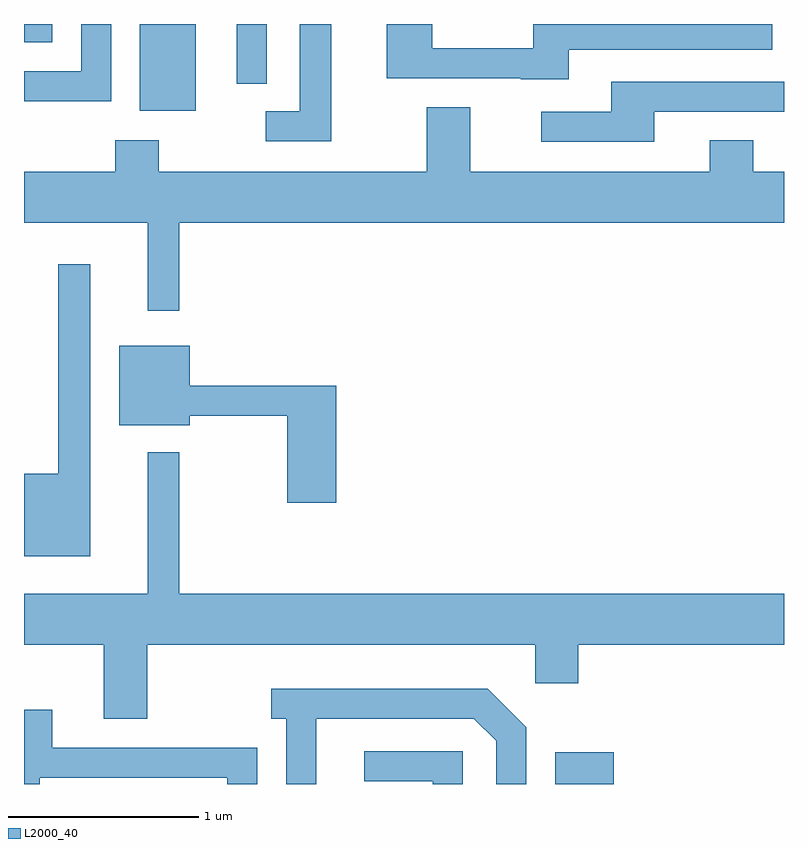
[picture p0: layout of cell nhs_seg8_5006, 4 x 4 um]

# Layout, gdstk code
import gdstk
lib = gdstk.Library(unit=1e-6, precision=1e-09)
def R(c, l, rs):  # rectangles x0, y0, x1, y1
    for r in rs: c.add(gdstk.rectangle(r[:2], r[2:], *l))
def P(c, l, *ps):  # polygons
    for p in ps: c.add(gdstk.Polygon(p, *l))
L2000_40 = (2000, 40)

nhs_seg8_5006 = lib.new_cell('nhs_seg8_5006')
R(nhs_seg8_5006, L2000_40, [(338.406,1842.342,338.714,1842.509), (336.221,1845.886,336.514,1846.342), (336.731,1846.028,336.889,1846.342), (335.611,1846.246,335.759,1846.342)])
P(nhs_seg8_5006, L2000_40, [(336.069,1846.342),(335.911,1846.342),(335.911,1846.094),(335.611,1846.094),(335.611,1845.936),(336.069,1845.936)],
  [(338.479,1846.206),(339.548,1846.206),(339.548,1846.342),(338.291,1846.342),(338.291,1846.214),(337.759,1846.214),(337.759,1846.342),(337.521,1846.342),(337.521,1846.056),(338.225,1846.056),(338.225,1846.051),(338.479,1846.051)],
  [(337.229,1846.342),(337.061,1846.342),(337.061,1845.884),(336.883,1845.884),(336.883,1845.726),(337.229,1845.726)],
  [(338.929,1845.881),(339.611,1845.881),(339.611,1846.039),(338.701,1846.039),(338.701,1845.879),(338.333,1845.879),(338.333,1845.721),(338.929,1845.721)],
  [(336.429,1845.296),(339.611,1845.296),(339.611,1845.564),(339.449,1845.564),(339.449,1845.729),(339.221,1845.729),(339.221,1845.564),(337.959,1845.564),(337.959,1845.904),(337.731,1845.904),(337.731,1845.564),(336.319,1845.564),(336.319,1845.729),(336.091,1845.729),(336.091,1845.564),(335.611,1845.564),(335.611,1845.296),(336.261,1845.296),(336.261,1844.833),(336.429,1844.833)],
  [(335.959,1845.078),(335.791,1845.078),(335.791,1843.974),(335.611,1843.974),(335.611,1843.541),(335.959,1843.541)],
  [(337.254,1844.439),(336.484,1844.439),(336.484,1844.649),(336.111,1844.649),(336.111,1844.231),(336.484,1844.231),(336.484,1844.281),(336.996,1844.281),(336.996,1843.821),(337.254,1843.821)],
  [(336.259,1843.076),(338.301,1843.076),(338.301,1842.871),(338.529,1842.871),(338.529,1843.076),(339.611,1843.076),(339.611,1843.344),(336.429,1843.344),(336.429,1844.088),(336.261,1844.088),(336.261,1843.344),(335.611,1843.344),(335.611,1843.076),(336.031,1843.076),(336.031,1842.686),(336.259,1842.686)],
  [(337.149,1842.686),(337.979,1842.686),(338.096,1842.569),(338.096,1842.342),(338.254,1842.342),(338.254,1842.642),(338.052,1842.844),(336.913,1842.844),(336.913,1842.686),(336.991,1842.686),(336.991,1842.342),(337.149,1842.342)],
  [(335.694,1842.376),(336.681,1842.376),(336.681,1842.342),(336.839,1842.342),(336.839,1842.534),(335.759,1842.534),(335.759,1842.734),(335.611,1842.734),(335.611,1842.342),(335.694,1842.342)],
  [(337.919,1842.514),(337.403,1842.514),(337.403,1842.356),(337.761,1842.356),(337.761,1842.342),(337.919,1842.342)])

lib.write_gds('nhs_seg8_5006.gds')
